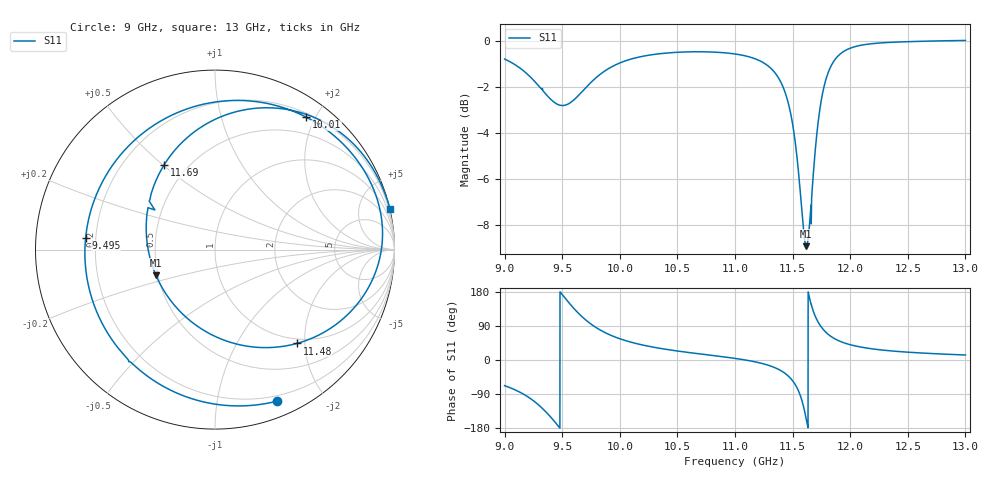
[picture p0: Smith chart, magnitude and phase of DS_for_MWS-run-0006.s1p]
! TOUCHSTONE file generated by CST DESIGN STUDIO
! Date and time: Tue Feb  4 17:51:54 2025
! Project name: C:\Work\MatlabApps\UnitCellOptimizationMatlab\CST\unitcell.cst
! Tree item: Tasks\Sweep1\SPara1\S-Parameters
! Header version: 2024
! Port assignment regex: !\s*Touchstone port\s*([0-9]+)\s*=\s*(CST MWS port|CST DES external port|CST DES block port)\s*(.+)\s* \(\"(.*)\"\)(\s*mode\s*([0-9]+))?.*
! Touchstone port assignment:
! Touchstone port 1 = CST DES external port 1 ("")
# GHz S MA R 50
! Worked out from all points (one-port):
!   4001 points, 9 GHz to 13 GHz, reference 50 ohm
!   lowest |S11| = -8.9 dB at 11.62 GHz (marker M1), VSWR 2.12, Z = 24.4 - j8.01 ohm
!   |S11| at or under -10 dB: nowhere
!   S11 on the Smith chart (normalised r, x): 9 GHz: 0.15, -1.48; 9.495 GHz: 0.16, +0.05; 10.01 GHz: 0.25, +1.88; 11.48 GHz: 0.91, -1.84; 11.69 GHz: 0.37, +0.50; 13 GHz: -0.04, +8.65
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9  0.9124 -67.7
9.159  0.8625 -89.3
9.273  0.8099 -112.9
9.401  0.7462 -150.9
9.495  0.7238 174.7
9.5  0.7237 172.8
9.61  0.7476 133.2
9.711  0.794 103.9
9.828  0.8449 79.4
10  0.8948 56.1
10.007  0.8962 55.4
10.218  0.927 38.2
10.5  0.9437 23.7
11  0.9358 4.2
11.32  0.8669 -17.1
11.412  0.7992 -30.6
11.484  0.6938 -48.9
11.5  0.6599 -54.7
11.563  0.4817 -90.4
11.619  0.3589 -156.5
11.653  0.4184 155.7
11.689  0.5498 121.1
11.733  0.7002 94.2
11.785  0.8172 74.3
11.878  0.9168 54.1
12  0.9631 40.4
12.5  0.995 20.6
13  1.001 13.2
